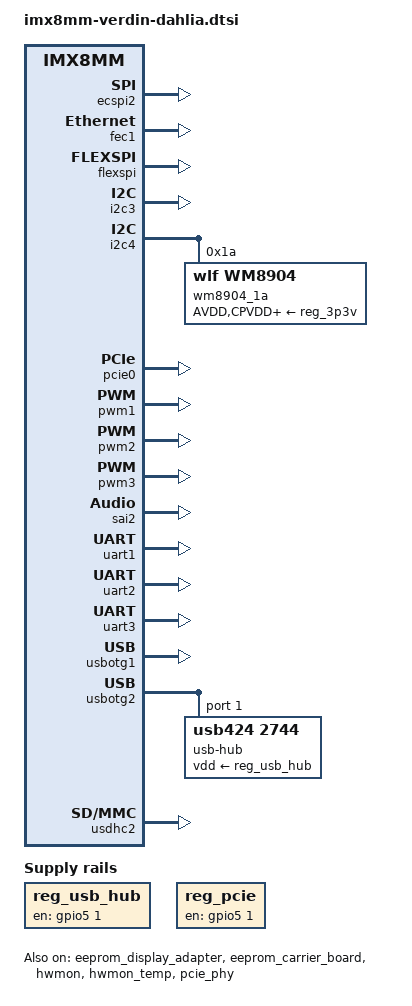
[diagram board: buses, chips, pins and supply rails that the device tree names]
// SPDX-License-Identifier: GPL-2.0-or-later OR MIT
/*
 * Copyright 2022 Toradex
 */

/ {
	sound_card: sound-card {
		compatible = "simple-audio-card";
		simple-audio-card,bitclock-master = <&dailink_master>;
		simple-audio-card,format = "i2s";
		simple-audio-card,frame-master = <&dailink_master>;
		simple-audio-card,mclk-fs = <256>;
		simple-audio-card,name = "verdin-wm8904";
		simple-audio-card,routing =
			"Headphone Jack", "HPOUTL",
			"Headphone Jack", "HPOUTR",
			"IN2L", "Line In Jack",
			"IN2R", "Line In Jack",
			"Microphone Jack", "MICBIAS",
			"IN1L", "Microphone Jack";
		simple-audio-card,widgets =
			"Microphone", "Microphone Jack",
			"Headphone", "Headphone Jack",
			"Line", "Line In Jack";

		dailink_master: simple-audio-card,codec {
			clocks = <&clk IMX8MM_CLK_SAI2_ROOT>;
			sound-dai = <&wm8904_1a>;
		};

		simple-audio-card,cpu {
			sound-dai = <&sai2>;
		};
	};

	reg_usb_hub: regulator-usb-hub {
		compatible = "regulator-fixed";
		enable-active-high;
		/* Verdin CTRL_SLEEP_MOCI# (SODIMM 256) */
		gpio = <&gpio5 1 GPIO_ACTIVE_HIGH>;
		regulator-boot-on;
		regulator-name = "HUB_PWR_EN";
	};

	reg_pcie: regulator-pcie {
		compatible = "regulator-fixed";
		enable-active-high;
		/* Verdin CTRL_SLEEP_MOCI# (SODIMM 256) */
		gpio = <&gpio5 1 GPIO_ACTIVE_HIGH>;
		regulator-boot-on;
		regulator-name = "PCIE_1_PWR_EN";
		startup-delay-us = <100000>;
	};
};

/* Verdin SPI_1 */
&ecspi2 {
	status = "okay";
};

/* EEPROM on display adapter boards */
&eeprom_display_adapter {
	status = "okay";
};

/* EEPROM on Verdin Development board */
&eeprom_carrier_board {
	status = "okay";
};

&fec1 {
	status = "okay";
};

/* Verdin QSPI_1 */
&flexspi {
	status = "okay";
};

&gpio5 {
	pinctrl-names = "default";
	pinctrl-0 = <&pinctrl_ctrl_sleep_moci>;
};

/* Current measurement into module VCC */
&hwmon {
	status = "okay";
};

&hwmon_temp {
	vs-supply = <&reg_1p8v>;
	status = "okay";
};

&i2c3 {
	status = "okay";
};

/* Verdin I2C_1 */
&i2c4 {
	status = "okay";

	/* Audio Codec */
	wm8904_1a: audio-codec@1a {
		compatible = "wlf,wm8904";
		AVDD-supply = <&reg_3p3v>;
		clocks = <&clk IMX8MM_CLK_SAI2_ROOT>;
		clock-names = "mclk";
		CPVDD-supply = <&reg_3p3v>;
		DBVDD-supply = <&reg_3p3v>;
		DCVDD-supply = <&reg_3p3v>;
		MICVDD-supply = <&reg_3p3v>;
		reg = <0x1a>;
		#sound-dai-cells = <0>;
	};
};

/* Verdin PCIE_1 */
&pcie0 {
	vpcie-supply = <&reg_pcie>;
	status = "okay";
};

&pcie_phy {
	status = "okay";
};

/* Verdin PWM_3_DSI */
&pwm1 {
	status = "okay";
};

/* Verdin PWM_1 */
&pwm2 {
	status = "okay";
};

/* Verdin PWM_2 */
&pwm3 {
	status = "okay";
};

/* We support turning off sleep moci on Dahlia */
&reg_force_sleep_moci {
	status = "disabled";
};

/* Verdin I2S_1 */
&sai2 {
	status = "okay";
};

/* Verdin UART_3 */
&uart1 {
	status = "okay";
};

/* Verdin UART_1 */
&uart2 {
	status = "okay";
};

/* Verdin UART_2 */
&uart3 {
	status = "okay";
};

/* Verdin USB_1 */
&usbotg1 {
	disable-over-current;
	status = "okay";
};

/* Verdin USB_2 */
&usbotg2 {
	#address-cells = <1>;
	#size-cells = <0>;
	disable-over-current;
	status = "okay";

	usb-hub@1 {
		compatible = "usb424,2744";
		reg = <1>;
		vdd-supply = <&reg_usb_hub>;
	};
};

/* Verdin SD_1 */
&usdhc2 {
	status = "okay";
};
